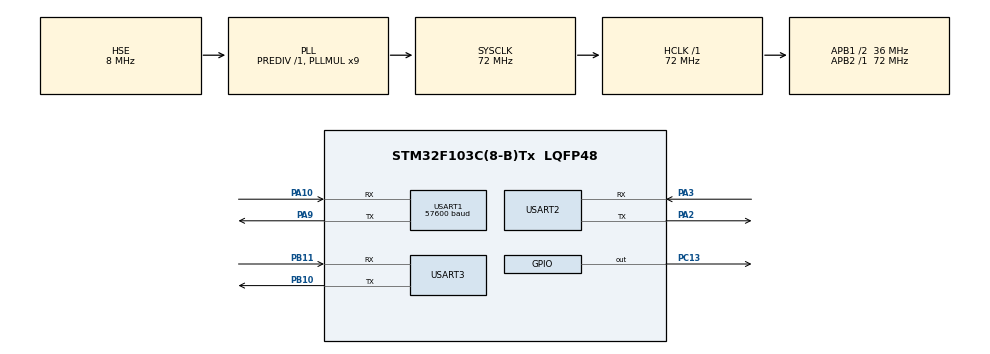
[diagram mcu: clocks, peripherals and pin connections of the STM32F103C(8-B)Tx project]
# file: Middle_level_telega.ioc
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Dma.Request0=USART1_RX
Dma.Request1=USART1_TX
Dma.USART1_RX.0.Direction=DMA_PERIPH_TO_MEMORY
Dma.USART1_RX.0.Instance=DMA1_Channel5
Dma.USART1_RX.0.MemDataAlignment=DMA_MDATAALIGN_BYTE
Dma.USART1_RX.0.MemInc=DMA_MINC_ENABLE
Dma.USART1_RX.0.Mode=DMA_NORMAL
Dma.USART1_RX.0.PeriphDataAlignment=DMA_PDATAALIGN_BYTE
Dma.USART1_RX.0.PeriphInc=DMA_PINC_DISABLE
Dma.USART1_RX.0.Priority=DMA_PRIORITY_HIGH
Dma.USART1_TX.1.Direction=DMA_MEMORY_TO_PERIPH
Dma.USART1_TX.1.Instance=DMA1_Channel4
Dma.USART1_TX.1.MemDataAlignment=DMA_MDATAALIGN_BYTE
Dma.USART1_TX.1.MemInc=DMA_MINC_ENABLE
Dma.USART1_TX.1.Mode=DMA_NORMAL
Dma.USART1_TX.1.PeriphDataAlignment=DMA_PDATAALIGN_BYTE
Dma.USART1_TX.1.PeriphInc=DMA_PINC_DISABLE
Dma.USART1_TX.1.Priority=DMA_PRIORITY_HIGH
Mcu.Family=STM32F1
Mcu.Name=STM32F103C(8-B)Tx
Mcu.Package=LQFP48
NVIC.DMA1_Channel4_IRQn=true\:0\:0\:false\:false\:true\:false\:true
NVIC.DMA1_Channel5_IRQn=true\:0\:0\:false\:false\:true\:false\:true
NVIC.PriorityGroup=NVIC_PRIORITYGROUP_4
NVIC.USART1_IRQn=true\:0\:0\:false\:false\:true\:true\:true
NVIC.USART2_IRQn=true\:0\:0\:false\:false\:true\:true\:true
NVIC.USART3_IRQn=true\:0\:0\:false\:false\:true\:true\:true
PA10.Mode=Asynchronous
PA10.Signal=USART1_RX
PA13.Mode=Serial_Wire
PA13.Signal=SYS_JTMS-SWDIO
PA14.Mode=Serial_Wire
PA14.Signal=SYS_JTCK-SWCLK
PA2.Mode=Asynchronous
PA2.Signal=USART2_TX
PA3.Mode=Asynchronous
PA3.Signal=USART2_RX
PA9.Mode=Asynchronous
PA9.Signal=USART1_TX
PB10.Mode=Asynchronous
PB10.Signal=USART3_TX
PB11.Mode=Asynchronous
PB11.Signal=USART3_RX
PC13-TAMPER-RTC.PinState=GPIO_PIN_SET
PC13-TAMPER-RTC.Signal=GPIO_Output
PC14-OSC32_IN.Mode=LSE-External-Oscillator
PC14-OSC32_IN.Signal=RCC_OSC32_IN
PC15-OSC32_OUT.Mode=LSE-External-Oscillator
PC15-OSC32_OUT.Signal=RCC_OSC32_OUT
PD0-OSC_IN.Mode=HSE-External-Oscillator
PD0-OSC_IN.Signal=RCC_OSC_IN
PD1-OSC_OUT.Mode=HSE-External-Oscillator
PD1-OSC_OUT.Signal=RCC_OSC_OUT
ProjectManager.HeapSize=0x200
ProjectManager.StackSize=0x400
ProjectManager.TargetToolchain=TrueSTUDIO
RCC.AHBFreq_Value=72000000
RCC.APB1CLKDivider=RCC_HCLK_DIV2
RCC.APB1Freq_Value=36000000
RCC.APB1TimFreq_Value=72000000
RCC.APB2Freq_Value=72000000
RCC.APB2TimFreq_Value=72000000
RCC.HCLKFreq_Value=72000000
RCC.PLLMUL=RCC_PLL_MUL9
RCC.PLLSourceVirtual=RCC_PLLSOURCE_HSE
RCC.SYSCLKFreq_VALUE=72000000
RCC.SYSCLKSource=RCC_SYSCLKSOURCE_PLLCLK
RCC.USBFreq_Value=72000000
USART1.BaudRate=57600
USART1.VirtualMode=VM_ASYNC
USART2.VirtualMode=VM_ASYNC
USART3.VirtualMode=VM_ASYNC
board=custom

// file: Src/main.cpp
/* USER CODE BEGIN Header */
/**
  ******************************************************************************
  * @file           : main.c
  * @brief          : Main program body
  ******************************************************************************
  * @attention
  *
  * <h2><center>&copy; Copyright (c) 2020 STMicroelectronics.
  * All rights reserved.</center></h2>
  *
  * This software component is licensed by ST under BSD 3-Clause license,
  * the "License"; You may not use this file except in compliance with the
  * License. You may obtain a copy of the License at:
  *                        opensource.org/licenses/BSD-3-Clause
  *
  ******************************************************************************
  */
/* USER CODE END Header */

#include "main.h"

/* USER CODE BEGIN Includes */
#include <ros.h>
#include <ros/time.h>
#include <tf/tf.h>
#include <tf/transform_broadcaster.h>
#include <nav_msgs/Odometry.h>
#include <geometry_msgs/Twist.h>
#include <std_msgs/Int32.h>
#include "cobs.h"
#include <string.h>
/* USER CODE END Includes */

/* USER CODE BEGIN PD */
#define BUF_SIZE_DRV			6
#define BUF_SIZE_DRV_SEND	7

#define M_PI 3.14159265358979323846
#define WHEEL_RADIUS 0.085
#define WHEEL_SEPARATION 0.3
/* USER CODE END PD */

UART_HandleTypeDef huart1;
UART_HandleTypeDef huart2;
UART_HandleTypeDef huart3;
DMA_HandleTypeDef hdma_usart1_rx;
DMA_HandleTypeDef hdma_usart1_tx;

/* USER CODE BEGIN PV */
float speed_drv1 =0.0f;
float speed_drv2 =0.0f;
uint8_t buf_drv1[BUF_SIZE_DRV];							// float speed
uint8_t buf_drv2[BUF_SIZE_DRV];							// float speed
uint8_t buf_drv_send[BUF_SIZE_DRV_SEND];					// uint8_t code + float speed
int uart_drv1_ready, uart_drv2_ready;

uint8_t buf_drv_decoded1[BUF_SIZE_DRV - 2];
uint8_t buf_drv_decoded2[BUF_SIZE_DRV - 2];
uint8_t buf_drv_send_decoded[BUF_SIZE_DRV_SEND - 2];

uint8_t code;

double x = 0.0;
double y = 0.0;
double th = 0.0;

double vx = 0.0;
double vy = 0.0;
double vth = 0.0;

float	old_pos_drv1,old_pos_drv2,pos_drv1, pos_drv2;

double distance_per_count = (2 * 3.14159265 * WHEEL_RADIUS) / 360;

double deltaRight, deltaLeft;

/* USER CODE END PV */

void SystemClock_Config(void);
static void MX_GPIO_Init(void);
static void MX_DMA_Init(void);
static void MX_USART1_UART_Init(void);
static void MX_USART2_UART_Init(void);
static void MX_USART3_UART_Init(void);

/* USER CODE BEGIN 0 */
void cmd_vel_callback( const geometry_msgs::Twist& msg){
		speed_drv1 = msg.linear.x + msg.angular.z/2;
		speed_drv2 = -msg.linear.x +  msg.angular.z/2 ;
		if (speed_drv1 > 1.0) speed_drv1 = 1.0;
		if (speed_drv1 < -1.0) speed_drv1 = -1.0;
		if (speed_drv2 > 1.0) speed_drv2 = 1.0;
		if (speed_drv2 < -1.0) speed_drv2 = -1.0;
		  HAL_GPIO_WritePin(GPIOC, GPIO_PIN_13, GPIO_PIN_RESET);
}

ros::NodeHandle nh;

nav_msgs::Odometry odom;
ros::Publisher odom_pub("odom", &odom);
tf::TransformBroadcaster odom_broadcaster;

ros::Time current_time = nh.now();
ros::Time last_time = nh.now();
ros::Subscriber<geometry_msgs::Twist> sub("cmd_vel", cmd_vel_callback,1);
/* USER CODE END 0 */

int main(void)
{

  /* MCU Configuration--------------------------------------------------------*/

  /* Reset of all peripherals, Initializes the Flash interface and the Systick. */
  HAL_Init();

  /* Configure the system clock */
  SystemClock_Config();

  /* Initialize all configured peripherals */
  MX_GPIO_Init();
  MX_DMA_Init();
  MX_USART1_UART_Init();
  MX_USART2_UART_Init();
  MX_USART3_UART_Init();
  /* USER CODE BEGIN 2 */
  USART2->CR1 |= USART_CR1_RXNEIE;
  USART3->CR1 |= USART_CR1_RXNEIE;

  nh.initNode();
  nh.subscribe(sub);
  nh.advertise(odom_pub);
  odom_broadcaster.init(nh);

  int send_freq = 1000.0 / 100; //1hz
  int send_last = HAL_GetTick();
  /* USER CODE END 2 */

  /* Infinite loop */
  /* USER CODE BEGIN WHILE */
  while (1)
  {
	  HAL_GPIO_WritePin(GPIOC, GPIO_PIN_13, GPIO_PIN_SET);
      if (nh.connected())
      {

          if(HAL_GetTick() - send_last > send_freq)
          {
        	  current_time = nh.now();

        	  if (uart_drv1_ready == 1)
				{
					old_pos_drv1=pos_drv1;
					cobs_decode(buf_drv1, BUF_SIZE_DRV, buf_drv_decoded1);
					memcpy(&pos_drv1, buf_drv_decoded1, sizeof(float));
					pos_drv1+=180;
					deltaRight = old_pos_drv1-pos_drv1;
					if(old_pos_drv1>300 && pos_drv1<60)
						deltaRight = -((360-old_pos_drv1)+pos_drv1);
					if(old_pos_drv1<60 && pos_drv1>300)
						deltaRight = (360-pos_drv1)+old_pos_drv1;

				}

				if (uart_drv2_ready == 1)
				{
					old_pos_drv2=pos_drv2;
					cobs_decode(buf_drv2, BUF_SIZE_DRV, buf_drv_decoded2);
					memcpy(&pos_drv2, buf_drv_decoded2, sizeof(float));
					pos_drv2+=180;
					deltaLeft = pos_drv2-old_pos_drv2;
					if(old_pos_drv2>300 && pos_drv2<60)
						deltaRight = (360-old_pos_drv2)+pos_drv2;
					if(old_pos_drv2<60 && pos_drv2>300)
						deltaRight = -((360-pos_drv2)+old_pos_drv2);
				}

        	      //compute odometry in a typical way given the velocities of the robot
    	          double dt = (current_time.toSec() - last_time.toSec());

				  double v_left = (deltaLeft * distance_per_count) / dt;
				  double v_right = (deltaRight * distance_per_count) / dt;

				  vx = ((v_right + v_left) / 2);
				  vy=0;
				  vth = (v_right - v_left)/WHEEL_SEPARATION;

        	      if (fabs(vth)>2)
        	    	 vth=0;

        	      double delta_x = (vx * cos(th)) * dt;
        	      double delta_y = (vx * sin(th)) * dt;
        	      double delta_th =vth * dt;

        	      x -= delta_x;
        	      y -= delta_y;
        	      th += delta_th;

        	      //since all odometry is 6DOF we'll need a quaternion created from yaw
        	      geometry_msgs::Quaternion odom_quat = tf::createQuaternionFromYaw(th);

        	      //first, we'll publish the transform over tf
        	      geometry_msgs::TransformStamped odom_trans;
        	      odom_trans.header.stamp = current_time;
        	      odom_trans.header.frame_id = "odom";
        	      odom_trans.child_frame_id = "base_link";

        	      odom_trans.transform.translation.x = x;
        	      odom_trans.transform.translation.y = y;
        	      odom_trans.transform.translation.z = 0.0;
        	      odom_trans.transform.rotation = odom_quat;

        	      //send the transform
        	      odom_broadcaster.sendTransform(odom_trans);

        	      //next, we'll publish the odometry message over ROS
        	      nav_msgs::Odometry odom;
        	      odom.header.stamp = current_time;
        	      odom.header.frame_id = "odom";

        	      //set the position
        	      odom.pose.pose.position.x = x;
        	      odom.pose.pose.position.y = y;
        	      odom.pose.pose.position.z = 0.0;
        	      odom.pose.pose.orientation = odom_quat;

        	      //set the velocity
        	      odom.child_frame_id = "base_link";
        	      odom.twist.twist.linear.x = vx;
        	      odom.twist.twist.linear.y = vy;
        	      odom.twist.twist.angular.z = vth;

        	      //publish the message
        	      odom_pub.publish(&odom);

        	      last_time = current_time;
        	      send_last = HAL_GetTick();
          }
      }

      nh.spinOnce();

		buf_drv_send_decoded[0] = 'v';
		memcpy(buf_drv_send_decoded + 1, &speed_drv1, sizeof(float));
		cobs_encode(buf_drv_send_decoded, BUF_SIZE_DRV_SEND - 2, buf_drv_send);
		HAL_UART_Transmit(&huart2, buf_drv_send, BUF_SIZE_DRV_SEND, 0x0FFF);

		buf_drv_send_decoded[0] = 'v';
		memcpy(buf_drv_send_decoded + 1, &speed_drv2, sizeof(float));
		cobs_encode(buf_drv_send_decoded, BUF_SIZE_DRV_SEND - 2, buf_drv_send);
		HAL_UART_Transmit(&huart3, buf_drv_send, BUF_SIZE_DRV_SEND, 0x0FFF);

    /* USER CODE END WHILE */
  }
}

void SystemClock_Config(void)
{
  RCC_OscInitTypeDef RCC_OscInitStruct = {0};
  RCC_ClkInitTypeDef RCC_ClkInitStruct = {0};

  /** Initializes the CPU, AHB and APB busses clocks
  */
  RCC_OscInitStruct.OscillatorType = RCC_OSCILLATORTYPE_HSE;
  RCC_OscInitStruct.HSEState = RCC_HSE_ON;
  RCC_OscInitStruct.HSEPredivValue = RCC_HSE_PREDIV_DIV1;
  RCC_OscInitStruct.HSIState = RCC_HSI_ON;
  RCC_OscInitStruct.PLL.PLLState = RCC_PLL_ON;
  RCC_OscInitStruct.PLL.PLLSource = RCC_PLLSOURCE_HSE;
  RCC_OscInitStruct.PLL.PLLMUL = RCC_PLL_MUL9;
  if (HAL_RCC_OscConfig(&RCC_OscInitStruct) != HAL_OK)
  {
    Error_Handler();
  }
  /** Initializes the CPU, AHB and APB busses clocks
  */
  RCC_ClkInitStruct.ClockType = RCC_CLOCKTYPE_HCLK|RCC_CLOCKTYPE_SYSCLK
                              |RCC_CLOCKTYPE_PCLK1|RCC_CLOCKTYPE_PCLK2;
  RCC_ClkInitStruct.SYSCLKSource = RCC_SYSCLKSOURCE_PLLCLK;
  RCC_ClkInitStruct.AHBCLKDivider = RCC_SYSCLK_DIV1;
  RCC_ClkInitStruct.APB1CLKDivider = RCC_HCLK_DIV2;
  RCC_ClkInitStruct.APB2CLKDivider = RCC_HCLK_DIV1;

  if (HAL_RCC_ClockConfig(&RCC_ClkInitStruct, FLASH_LATENCY_2) != HAL_OK)
  {
    Error_Handler();
  }
}

static void MX_USART1_UART_Init(void)
{

  huart1.Instance = USART1;
  huart1.Init.BaudRate = 57600;
  huart1.Init.WordLength = UART_WORDLENGTH_8B;
  huart1.Init.StopBits = UART_STOPBITS_1;
  huart1.Init.Parity = UART_PARITY_NONE;
  huart1.Init.Mode = UART_MODE_TX_RX;
  huart1.Init.HwFlowCtl = UART_HWCONTROL_NONE;
  huart1.Init.OverSampling = UART_OVERSAMPLING_16;
  if (HAL_UART_Init(&huart1) != HAL_OK)
  {
    Error_Handler();
  }

}

static void MX_USART2_UART_Init(void)
{

  huart2.Instance = USART2;
  huart2.Init.BaudRate = 115200;
  huart2.Init.WordLength = UART_WORDLENGTH_8B;
  huart2.Init.StopBits = UART_STOPBITS_1;
  huart2.Init.Parity = UART_PARITY_NONE;
  huart2.Init.Mode = UART_MODE_TX_RX;
  huart2.Init.HwFlowCtl = UART_HWCONTROL_NONE;
  huart2.Init.OverSampling = UART_OVERSAMPLING_16;
  if (HAL_UART_Init(&huart2) != HAL_OK)
  {
    Error_Handler();
  }

}

static void MX_USART3_UART_Init(void)
{

  huart3.Instance = USART3;
  huart3.Init.BaudRate = 115200;
  huart3.Init.WordLength = UART_WORDLENGTH_8B;
  huart3.Init.StopBits = UART_STOPBITS_1;
  huart3.Init.Parity = UART_PARITY_NONE;
  huart3.Init.Mode = UART_MODE_TX_RX;
  huart3.Init.HwFlowCtl = UART_HWCONTROL_NONE;
  huart3.Init.OverSampling = UART_OVERSAMPLING_16;
  if (HAL_UART_Init(&huart3) != HAL_OK)
  {
    Error_Handler();
  }

}

static void MX_DMA_Init(void)
{

  /* DMA controller clock enable */
  __HAL_RCC_DMA1_CLK_ENABLE();

  /* DMA interrupt init */
  /* DMA1_Channel4_IRQn interrupt configuration */
  HAL_NVIC_SetPriority(DMA1_Channel4_IRQn, 0, 0);
  HAL_NVIC_EnableIRQ(DMA1_Channel4_IRQn);
  /* DMA1_Channel5_IRQn interrupt configuration */
  HAL_NVIC_SetPriority(DMA1_Channel5_IRQn, 0, 0);
  HAL_NVIC_EnableIRQ(DMA1_Channel5_IRQn);

}

static void MX_GPIO_Init(void)
{
  GPIO_InitTypeDef GPIO_InitStruct = {0};

  /* GPIO Ports Clock Enable */
  __HAL_RCC_GPIOC_CLK_ENABLE();
  __HAL_RCC_GPIOD_CLK_ENABLE();
  __HAL_RCC_GPIOA_CLK_ENABLE();
  __HAL_RCC_GPIOB_CLK_ENABLE();

  /*Configure GPIO pin Output Level */
  HAL_GPIO_WritePin(GPIOC, GPIO_PIN_13, GPIO_PIN_SET);

  /*Configure GPIO pin : PC13 */
  GPIO_InitStruct.Pin = GPIO_PIN_13;
  GPIO_InitStruct.Mode = GPIO_MODE_OUTPUT_PP;
  GPIO_InitStruct.Pull = GPIO_NOPULL;
  GPIO_InitStruct.Speed = GPIO_SPEED_FREQ_LOW;
  HAL_GPIO_Init(GPIOC, &GPIO_InitStruct);

}

void Error_Handler(void)
{
}

/************************ (C) COPYRIGHT STMicroelectronics *****END OF FILE****/
